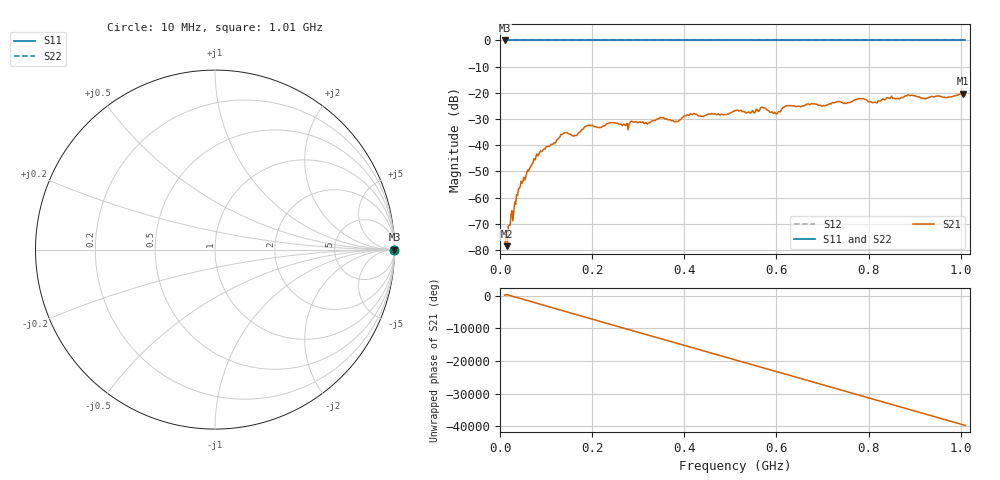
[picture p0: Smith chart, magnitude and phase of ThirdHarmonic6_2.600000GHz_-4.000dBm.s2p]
! 8/17/2025 5:37:21 AM
! C:\ANRITSUVNA\TEMP\TEMP.S2P
! CHANNEL.1
! TR.MEASUREMENT
! RAW.DATA
! RF.CORRECTION.OFF
! AVERAGING.OFF
! IF.BANDWIDTH: 5KHZ
! SWEEPTYPE:  FREQ.SWEEP(Linear)
! Reference Plane Port Info
! PORT:  PORT1  PORT2
! DISTANCE:  0  m  0  m
! TIME:  0  s  0  s
! PHASE.OFFSET:  0  deg.  0  deg.
! LOSS:  0  dB  0  dB
! REF.LOSS:  0  dB  0  dB
! REF.FREQ:  0  Hz  0  Hz
! Power Info
! POWER:  -20  dBm  -20  dBm
! EFF.POWER:  -20  dBm  -20  dBm
! SOURCE.ATTEN:  0  dB  0  dB
! TEST.ATTEN:  0  dB  0  dB
# GHZ S RI R 50.0
! FREQ.GHZ  S11RE  S11IM  S21RE  S21IM  S12RE  S12IM  S22RE  S22IM
!; PortSelection: Port_12
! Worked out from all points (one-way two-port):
!   501 points, 10 MHz to 1.01 GHz, reference 50 ohm
!   highest |S21| = -20.34 dB at 1.004 GHz (marker M1); lowest = -78.5 dB at 16 MHz (marker M2)
!   lowest |S11| = 0.0 dB at 10 MHz (marker M3)
!   |S11| at or under -10 dB: nowhere
!   |S22| runs from 0.0 to 0.0 dB; largest |S21 - S12| = 1.1
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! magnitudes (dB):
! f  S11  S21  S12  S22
! 10 MHz  0.0  -77.8  0.0  0.0
! 16 MHz  0.0  -78.5  0.0  0.0
! 42 MHz  0.0  -56.4  0.0  0.0
! 76 MHz  0.0  -45.6  0.0  0.0
! 136 MHz  0.0  -35.8  0.0  0.0
! 162 MHz  0.0  -36.2  0.0  0.0
! 178 MHz  0.0  -34.0  0.0  0.0
! 192 MHz  0.0  -32.3  0.0  0.0
! 276 MHz  0.0  -31.7  0.0  0.0
! 344 MHz  0.0  -29.9  0.0  0.0
! 382 MHz  0.0  -31.0  0.0  0.0
! 416 MHz  0.0  -28.2  0.0  0.0
! 510 MHz  0.0  -26.7  0.0  0.0
! 570 MHz  0.0  -25.5  0.0  0.0
! 598 MHz  0.0  -27.7  0.0  0.0
! 622 MHz  0.0  -24.9  0.0  0.0
! 678 MHz  0.0  -24.1  0.0  0.0
! 784 MHz  0.0  -22.2  0.0  0.0
! 814 MHz  0.0  -23.5  0.0  0.0
! 844 MHz  0.0  -22.0  0.0  0.0
! 1.004 GHz  0.0  -20.3  0.0  0.0
! 1.01 GHz  0.0  -21.0  0.0  0.0
